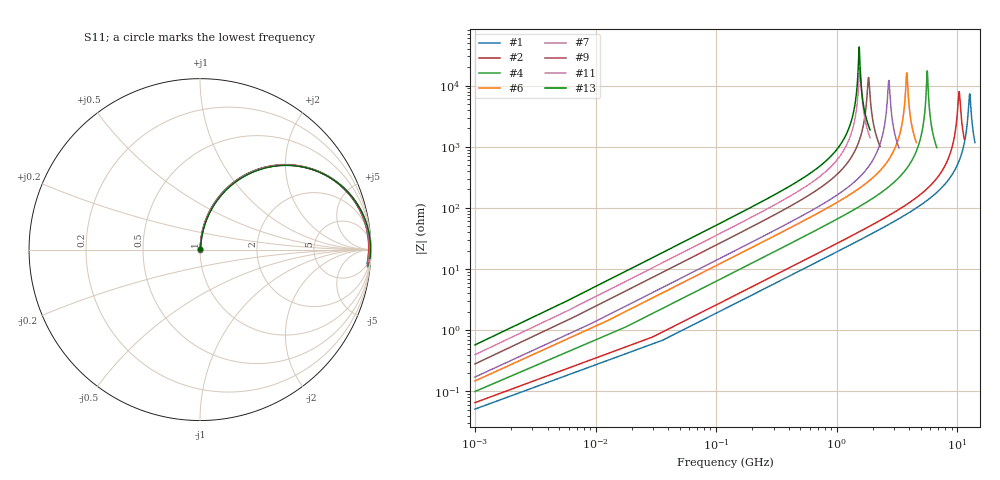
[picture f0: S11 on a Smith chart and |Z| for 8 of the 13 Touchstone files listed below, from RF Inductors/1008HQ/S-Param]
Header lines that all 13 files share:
! 10 July 2002
# MHZ S MA R 50
!Freq  MagS11  AngS11  MagS21  AngS21  MagS12  AngS12  MagS22  AngS22
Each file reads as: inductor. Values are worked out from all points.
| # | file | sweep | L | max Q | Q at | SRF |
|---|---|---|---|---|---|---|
| 1 | 10HQ3N0.S2P | 1 MHz to 14.1 GHz | 3 nH | 117 | 3.763 GHz | 12.73 GHz |
| 2 | 10HQ4N1.S2P | 1 MHz to 11.5 GHz | 4.1 nH | 110 | 3.098 GHz | 10.41 GHz |
| 3 | 10HQ7N8.S2P | 1 MHz to 6.8 GHz | 7.8 nH | 138 | 1.612 GHz | 5.632 GHz |
| 4 | 10HQ10N.S2P | 1 MHz to 6.8 GHz | 10 nH | 123 | 1.85 GHz | 5.649 GHz |
| 5 | 10HQ12N.S2P | 1 MHz to 5.1 GHz | 12 nH | 114 | 1.286 GHz | 4.211 GHz |
| 6 | 10HQ18N.S2P | 1 MHz to 4.6 GHz | 18 nH | 119 | 1.182 GHz | 3.821 GHz |
| 7 | 10HQ22N.S2P | 1 MHz to 3.3 GHz | 22 nH | 101 | 840.5 MHz | 2.717 GHz |
| 8 | 10HQ33N.S2P | 1 MHz to 2.9 GHz | 33 nH | 111 | 774.6 MHz | 2.358 GHz |
| 9 | 10HQ39N.S2P | 1 MHz to 2.3 GHz | 39 nH | 97 | 568.3 MHz | 1.84 GHz |
| 10 | 10HQ47N.S2P | 1 MHz to 2.4 GHz | 47 nH | 103 | 652.8 MHz | 1.956 GHz |
| 11 | 10HQ56N.S2P | 1 MHz to 1.9 GHz | 56 nH | 93.6 | 508.2 MHz | 1.56 GHz |
| 12 | 10HQ68N.S2P | 1 MHz to 1.9 GHz | 68 nH | 102 | 536.6 MHz | 1.551 GHz |
| 13 | 10HQ82N.S2P | 1 MHz to 1.9 GHz | 82 nH | 98.7 | 546.1 MHz | 1.542 GHz |
